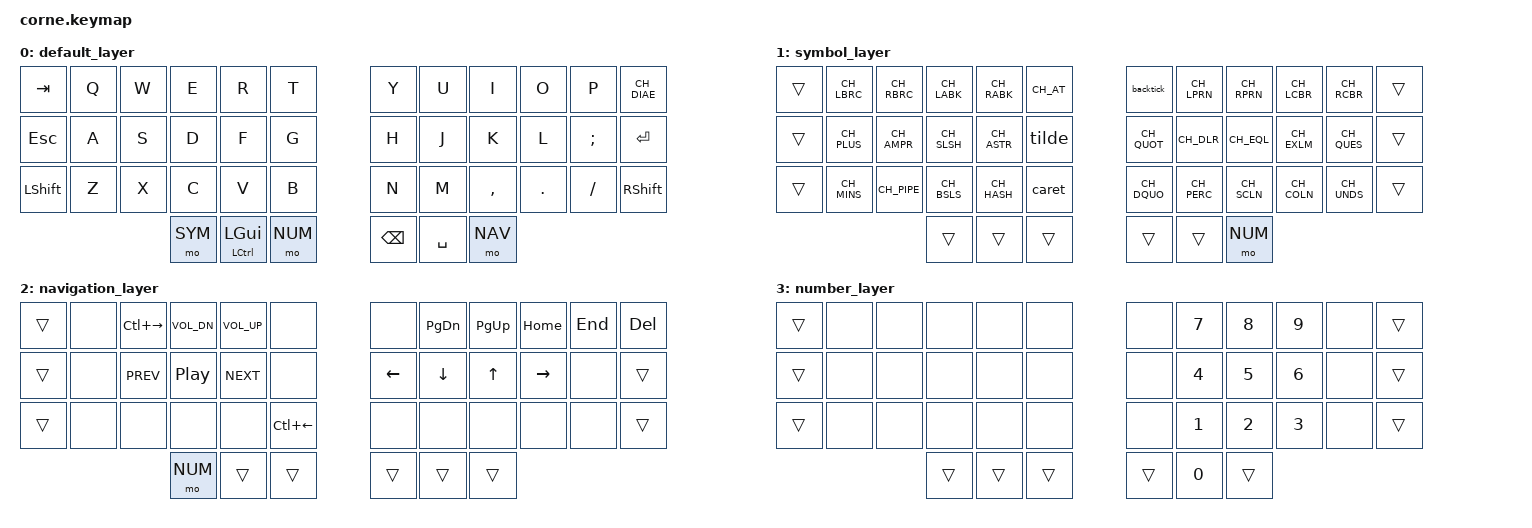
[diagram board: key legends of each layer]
/*
 * Copyright (c) 2020 The ZMK Contributors
 *
 * SPDX-License-Identifier: MIT
 */

#include <behaviors.dtsi>
#include <dt-bindings/zmk/keys.h>
#include <dt-bindings/zmk/bt.h>
#include <../boards/shields/corne/boards/nice_nano.overlay>
#include "keymap_swiss_de.h"

#define DEF 0
#define SYM 1
#define NAV 2
#define NUM 3

/ {
    macros {
        backtick: backtick {
            label = "backtick";
            compatible = "zmk,behavior-macro";
            #binding-cells = <0>;
            bindings = <&macro_tap &kp CH_GRAVE &kp SPACE>;
        };
        tilde: tilde {
            label = "tilde";
            compatible = "zmk,behavior-macro";
            #binding-cells = <0>;
            bindings = <&macro_tap &kp CH_TILDE &kp SPACE>;
        };
        caret: caret {
            label = "caret";
            compatible = "zmk,behavior-macro";
            #binding-cells = <0>;
            bindings = <&macro_tap &kp CH_CARET &kp SPACE>;
        };
    };
    keymap {
        compatible = "zmk,keymap";

        default_layer {
            bindings = <
   &kp TAB   &kp Q &kp W &kp E &kp R &kp T   &kp Y &kp U  &kp I     &kp O   &kp P    &kp CH_DIAE
   &kp ESC   &kp A &kp S &kp D &kp F &kp G   &kp H &kp J  &kp K     &kp L   &kp SEMI &kp RET
   &kp LSHFT &kp Z &kp X &kp C &kp V &kp B   &kp N &kp M  &kp COMMA &kp DOT &kp FSLH &kp RSHFT
                 &mo SYM &mt LCTRL LGUI &mo NUM     &kp BSPC &kp SPACE &mo NAV
            >;
        };
        symbol_layer {
            bindings = <
   &trans &kp CH_LBRC &kp CH_RBRC &kp CH_LABK &kp CH_RABK &kp CH_AT        &backtick &kp CH_LPRN &kp CH_RPRN &kp CH_LCBR &kp CH_RCBR &trans
   &trans &kp CH_PLUS &kp CH_AMPR &kp CH_SLSH &kp CH_ASTR &tilde      &kp CH_QUOT &kp CH_DLR  &kp CH_EQL  &kp CH_EXLM &kp CH_QUES &trans
   &trans &kp CH_MINS &kp CH_PIPE &kp CH_BSLS &kp CH_HASH &caret      &kp CH_DQUO &kp CH_PERC &kp CH_SCLN &kp CH_COLN &kp CH_UNDS &trans
                        &trans &trans &trans      &trans &trans &mo NUM
            >;
        };
        navigation_layer {
            bindings = <
   &trans &none &kp LC(RIGHT) &kp C_VOL_DN &kp C_VOL_UP &none      &none &kp PG_DN &kp PG_UP &kp HOME &kp END &kp DEL
   &trans &none &kp C_PREV &kp C_PLAY_PAUSE &kp C_NEXT &none      &kp LEFT &kp DOWN &kp UP &kp RIGHT &none &trans
   &trans &none &none &none &none &kp LC(LEFT)      &none &none &none &none &none &trans
                        &mo NUM &trans &trans      &trans &trans &trans
            >;
        };
        number_layer {
            bindings = <
   &trans &none &none &none &none &none      &none &kp N7 &kp N8 &kp N9 &none &trans
   &trans &none &none &none &none &none      &none &kp N4 &kp N5 &kp N6 &none &trans
   &trans &none &none &none &none &none      &none &kp N1 &kp N2 &kp N3 &none &trans
                        &trans &trans &trans      &trans &kp N0 &trans
            >;
        };
    };
};
